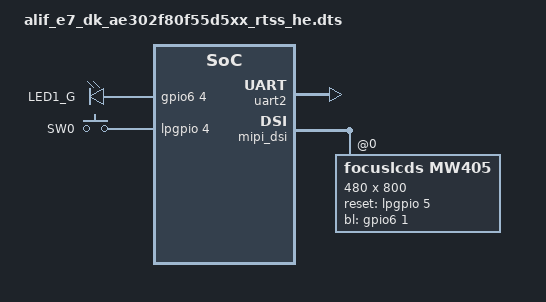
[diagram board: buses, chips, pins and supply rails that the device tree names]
/* Copyright (c) 2025 Alif Semiconductor
 *
 * SPDX-License-Identifier: Apache-2.0
 */

/dts-v1/;

#include <alif/ensemble/e3/ae302f80f55d5xx.dtsi>
#include <alif/ensemble/common/ensemble_rtss_he.dtsi>
#include "../common/ensemble-pinctrl.dtsi"

/ {
	compatible = "arm,alif-e7-dk-ae302f80f55d5xx-rtss-he";
	#address-cells = <1>;
	#size-cells = <1>;

	chosen {
		zephyr,flash = &mram_storage;
		zephyr,code-partition = &slot0_partition;
		zephyr,sram = &dtcm;
		zephyr,console = &uart2;
		zephyr,shell-uart = &uart2;
		zephyr,uart-mcumgr = &uart2;
		zephyr,display = &cdc200;
	};

	aliases {
		led0 = &aled0;
		sw0 = &button0;
		panel = &mw405;
	};

	leds {
		compatible = "gpio-leds";

		aled0: led_0 {
			gpios = <&gpio6 4 0>;
			label = "LED1_G";
		};
	};

	buttons {
		compatible = "gpio-keys";

		button0: button_0 {
			gpios = < &lpgpio 4 0 >;
			label = "SW0";
		};
	};
};

&lpgpio {
	status = "okay";
};

&gpio6 {
	status = "okay";
};

&uart2 {
	status = "okay";
};

&ospi1 {
	/* External Flash on OSPI */
	ospi_flash: ospi_flash@0 {
		compatible = "issi,xspi-flash-controller";
		reg = <0x0>;
		erase-value = <0xff>;
		num-of-sector = <16384>;
		page-size = <4096>;
		sector-size = <4096>;
		write-block-size = <2>;

		/* Flash Size 64MB */
		#address-cells = <1>;
		#size-cells = <1>;

		flash_storage: flash_storage@0 {
			compatible = "soc-nv-flash";
			reg = <0x0 DT_SIZE_M(64)>;
			erase-block-size = <DT_SIZE_K(4)>;
			write-block-size = <2>;
		};
		status = "disabled";
	};
};

&mipi_dsi {
	mw405: mw405@0 {
		status = "okay";
		compatible = "focuslcds,mw405";
		reg = <0>;
		reset-gpios = <&lpgpio 5 GPIO_ACTIVE_HIGH>;
		bl-gpios = <&gpio6 1 GPIO_ACTIVE_HIGH>;
		data-lanes = <2>;
		width = <480>;
		height = <800>;
		video-mode = "burst";
		command-tx-mode = "high-speed";
		pixel-format = <MIPI_DSI_PIXFMT_RGB888>;
	};
};
